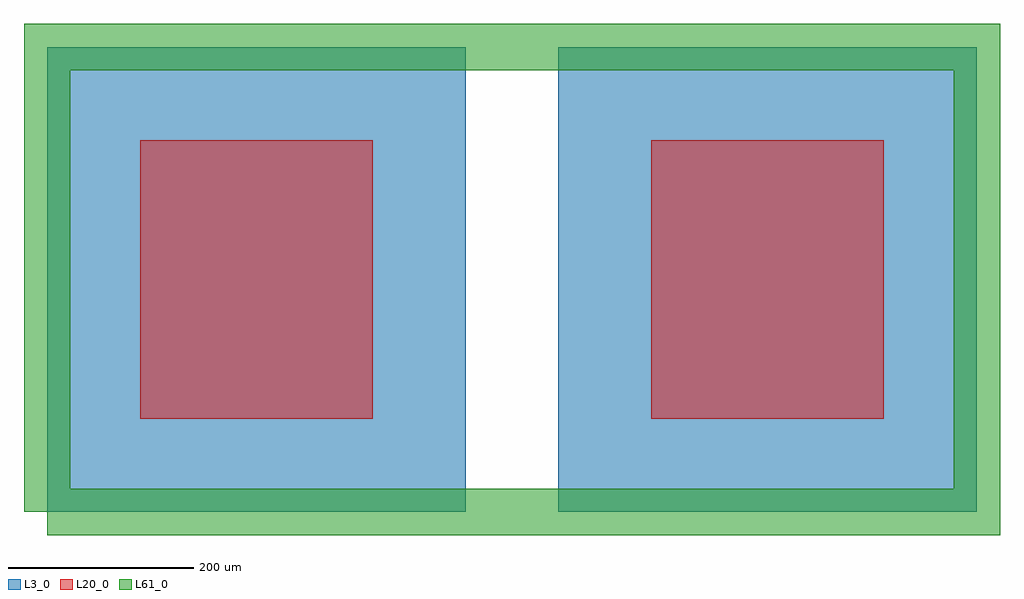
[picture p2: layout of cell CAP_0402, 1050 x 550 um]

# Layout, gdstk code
import gdstk
lib = gdstk.Library(unit=1e-6, precision=1e-09)
def R(c, l, rs):  # rectangles x0, y0, x1, y1
    for r in rs: c.add(gdstk.rectangle(r[:2], r[2:], *l))
L3_0 = (3, 0)
L20_0 = (20, 0)
L61_0 = (61, 0)

cap_0402 = lib.new_cell('CAP_0402')
R(cap_0402, L3_0, [(0,0,450,500), (550,0,1000,500)])
R(cap_0402, L20_0, [(100,100,350,400), (650,100,900,400)])
cap_0402.add(gdstk.FlexPath([(0,0),(1000,0),(1000,500),(0,500),(0,0)], 50, ends="flush", simple_path=True, layer=61, datatype=0))  # L61_0

lib.write_gds('CAP_0402.gds')
